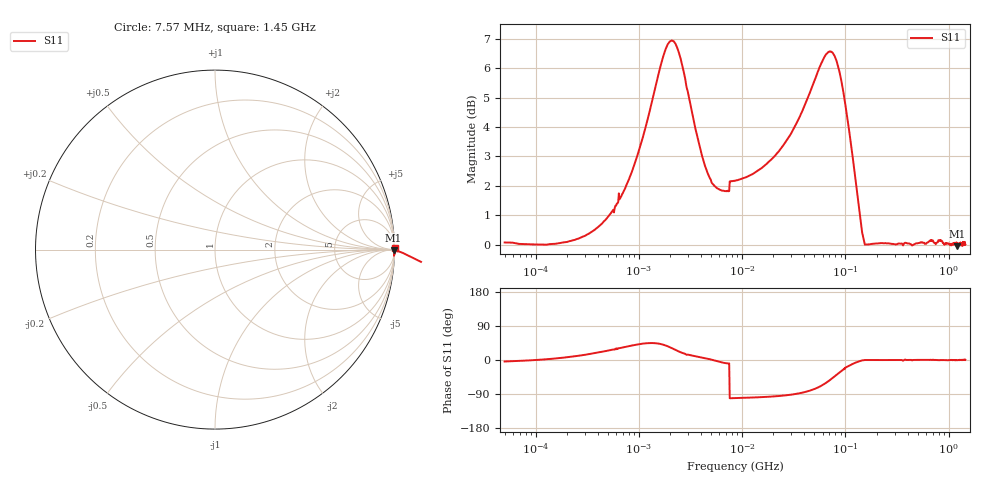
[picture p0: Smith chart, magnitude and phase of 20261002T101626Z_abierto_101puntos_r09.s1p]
! piloto_saltos / abierto_101puntos / r09
# HZ S RI R 50
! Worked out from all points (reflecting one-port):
!   501 points, 50 kHz to 1.45 GHz, reference 50 ohm
!   lowest |S11| = 0.0 dB at 1.194 GHz (marker M1), VSWR 372.34, Z = 1.47e+04 - j7.62e+03 ohm
!   phase of S11 starts at -4 deg and turns +5 deg over the sweep
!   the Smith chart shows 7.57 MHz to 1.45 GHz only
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50000  1.007 -0.0697
183000  1.004 0.1059
373000  1.008 0.3293
658000  1.022 0.6297
1180000  1.149 1.117
1630000  1.501 1.355
1990000  1.84 1.233
2440000  1.959 0.8042
2890000  1.8 0.4398
3430000  1.585 0.2932
4870000  1.296 0.0431
7300000  1.218 -0.1941
7750000  -0.2407 -1.26
8560000  -0.2341 -1.263
1.72e7  -0.1756 -1.361
3.16e7  -0.0108 -1.579
4.69e7  0.3397 -1.812
6.4e7  1.006 -1.841
7.39e7  1.4 -1.599
8.65e7  1.651 -1.1
9.82e7  1.638 -0.6433
1e8  1.62 -0.5904
1.18e8  1.379 -0.244
1.36e8  1.148 -0.0683
1.63e8  1.002 0.000963
4.06e8  1.005 0.00037
1.1935e9  0.9946 -0.00278
1.45e9  1.001 0.00989
